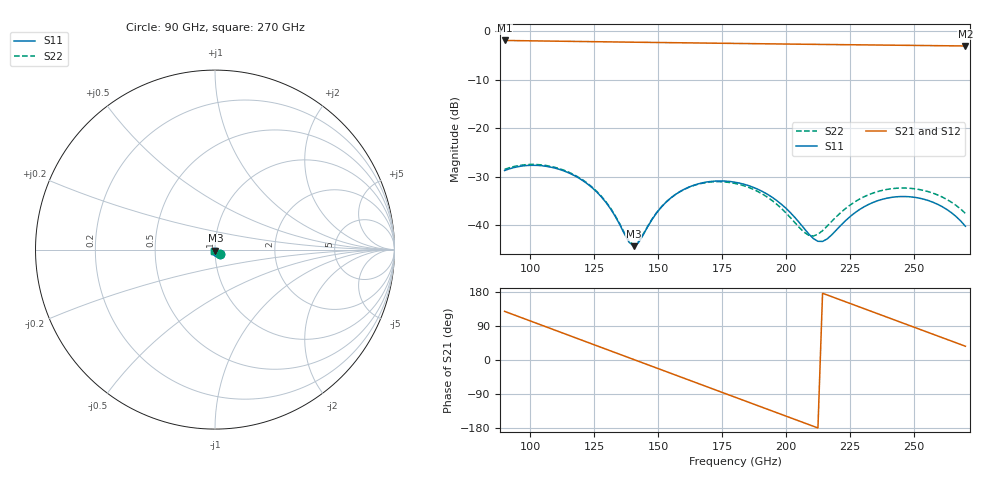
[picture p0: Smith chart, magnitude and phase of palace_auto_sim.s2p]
#  GHZ S DB R 50
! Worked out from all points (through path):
!   101 points, 90 GHz to 270 GHz, reference 50 ohm
!   highest |S21| = -1.89 dB at 90 GHz (marker M1); lowest = -3.0 dB at 270 GHz (marker M2)
!   group delay of S21, straight-line fit = 6.97 ps
!   lowest |S11| = -44.4 dB at 140.4 GHz (marker M3), VSWR 1.01, Z = 50.2 - j0.58 ohm
!   |S11| at or under -10 dB: start of sweep to end of sweep
!   |S22| runs from -44.1 to -27.5 dB; largest |S21 - S12| = 8.8e-14
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90  -28.74 -40.8  -1.89 128.4  -1.89 128.4  -28.49 -40.9
97.2  -27.78 -54.8  -1.95 110.2  -1.95 110.2  -27.58 -54.9
104.4  -27.74 -69.7  -2.00 92.1  -2.00 92.1  -27.57 -69.9
111.6  -28.53 -84.8  -2.05 73.9  -2.05 73.9  -28.38 -84.9
120.6  -30.83 -102.5  -2.11 51.2  -2.11 51.2  -30.70 -102.5
129.6  -35.33 -115.0  -2.18 28.6  -2.18 28.6  -35.20 -114.7
140.4  -44.35 -72.4  -2.25 1.4  -2.25 1.4  -44.10 -72.6
151.2  -36.30 -29.4  -2.32 -25.7  -2.32 -25.7  -36.26 -29.8
158.4  -33.12 -38.5  -2.37 -43.8  -2.37 -43.8  -33.13 -38.6
165.6  -31.50 -51.9  -2.41 -61.9  -2.41 -61.9  -31.56 -51.7
180  -31.15 -81.2  -2.50 -98.1  -2.50 -98.1  -31.40 -80.2
187.2  -32.22 -95.2  -2.55 -116.2  -2.55 -116.2  -32.64 -93.3
196.2  -34.89 -109.5  -2.61 -138.8  -2.61 -138.8  -35.65 -104.9
207  -40.69 -109.0  -2.67 -165.8  -2.67 -165.8  -41.47 -91.2
210.6  -42.78 -96.0  -2.69 -174.8  -2.69 -174.8  -42.26 -72.3
216  -42.86 -65.6  -2.72 171.6  -2.72 171.6  -40.22 -49.6
225  -38.23 -49.7  -2.77 149.1  -2.77 149.1  -35.85 -46.2
232.2  -35.73 -56.6  -2.81 131.0  -2.81 131.0  -33.73 -55.6
241.2  -34.27 -72.0  -2.86 108.5  -2.86 108.5  -32.49 -72.0
255.6  -34.95 -100.9  -2.95 72.4  -2.95 72.4  -33.11 -101.6
262.8  -36.79 -115.1  -2.99 54.4  -2.99 54.4  -34.72 -116.2
270  -40.24 -126.9  -3.03 36.3  -3.03 36.3  -37.58 -129.2
